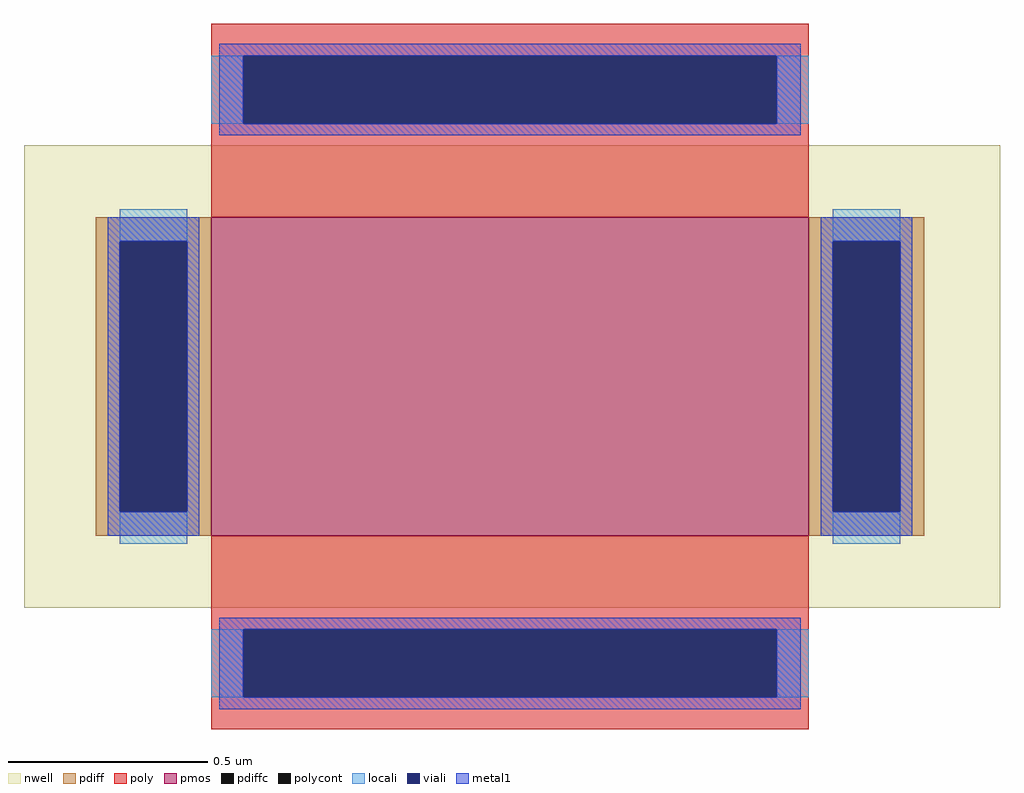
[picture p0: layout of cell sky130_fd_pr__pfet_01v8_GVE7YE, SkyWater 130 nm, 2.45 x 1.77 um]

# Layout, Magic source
magic
tech sky130A
magscale 1 2
<< nwell >>
rect -244 -116 246 116
<< pmos >>
rect -150 -80 150 80
<< pdiff >>
rect -208 68 -150 80
rect -208 -68 -196 68
rect -162 -68 -150 68
rect -208 -80 -150 -68
rect 150 68 208 80
rect 150 -68 162 68
rect 196 -68 208 68
rect 150 -80 208 -68
<< pdiffc >>
rect -196 -68 -162 68
rect 162 -68 196 68
<< poly >>
rect -150 161 150 177
rect -150 127 -134 161
rect 134 127 150 161
rect -150 80 150 127
rect -150 -127 150 -80
rect -150 -161 -134 -127
rect 134 -161 150 -127
rect -150 -177 150 -161
<< polycont >>
rect -134 127 134 161
rect -134 -161 134 -127
<< locali >>
rect -150 127 -134 161
rect 134 127 150 161
rect -196 68 -162 84
rect -196 -84 -162 -68
rect 162 68 196 84
rect 162 -84 196 -68
rect -150 -161 -134 -127
rect 134 -161 150 -127
<< viali >>
rect -134 127 134 161
rect -196 -68 -162 68
rect 162 -68 196 68
rect -134 -161 134 -127
<< metal1 >>
rect -146 161 146 167
rect -146 127 -134 161
rect 134 127 146 161
rect -146 121 146 127
rect -202 68 -156 80
rect -202 -68 -196 68
rect -162 -68 -156 68
rect -202 -80 -156 -68
rect 156 68 202 80
rect 156 -68 162 68
rect 196 -68 202 68
rect 156 -80 202 -68
rect -146 -127 146 -121
rect -146 -161 -134 -127
rect 134 -161 146 -127
rect -146 -167 146 -161
<< properties >>
string FIXED_BBOX -293 -246 293 246
string gencell sky130_fd_pr__pfet_01v8
string library sky130
string parameters w 0.8 l 1.5 m 1 nf 1 diffcov 100 polycov 100 guard 1 glc 1 grc 1 gtc 1 gbc 1 tbcov 100 rlcov 100 topc 1 botc 1 poverlap 0 doverlap 1 lmin 0.15 wmin 0.42 compatible {sky130_fd_pr__pfet_01v8  sky130_fd_pr__pfet_01v8_lvt sky130_fd_pr__pfet_01v8_hvt  sky130_fd_pr__pfet_g5v0d10v5} full_metal 1 viasrc 100 viadrn 100 viagate 100 viagb 0 viagr 0 viagl 0 viagt 0
<< end >>
